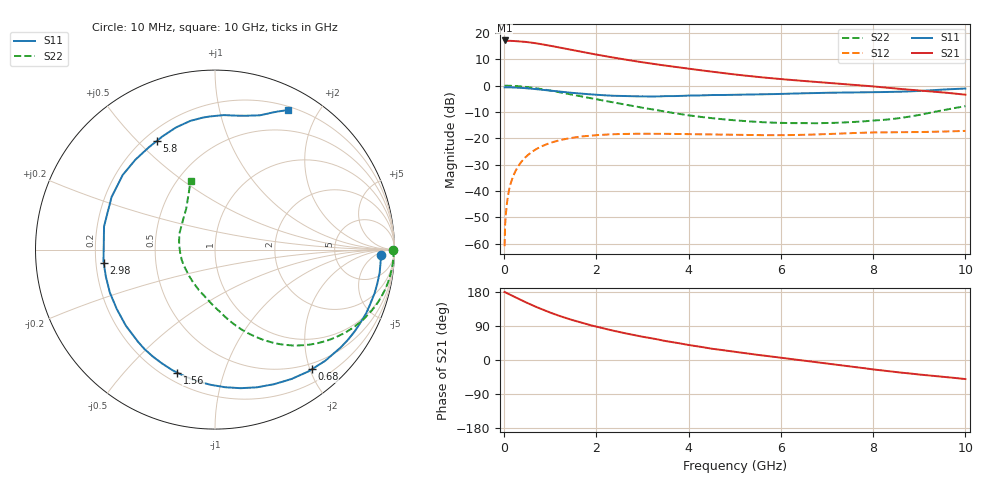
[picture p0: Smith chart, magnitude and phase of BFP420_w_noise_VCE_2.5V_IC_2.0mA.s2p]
! Infineon Technologies  Discrete & RF Semiconductors
! BFP420
! VCE =  2.5 V,  IC =  2.0 mA
! Common Emitter S-Parameters:  Jan 2016
# GHz  S  MA  R  50
!  f  S11  S21  S12  S22
! GHz  MAG  ANG  MAG  ANG  MAG  ANG  MAG  ANG
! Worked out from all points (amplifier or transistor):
!   233 points, 10 MHz to 10 GHz, reference 50 ohm
!   highest |S21| = 17.1 dB at 10 MHz (marker M1)
!   |S21| within 3 dB of that: start of sweep to 1.295 GHz
!   unconditionally stable (mu >= 1): 3.871 GHz to end of sweep
!   at 200 MHz: K = 0.03, MSG = 25.6 dB, |S12| = -34.2 dB
!   at 1.74 GHz: K = 0.37, MSG = 15.9 dB, |S12| = -19.2 dB
!   at 10 GHz: K = 1.22, MAG = 4.0 dB, |S12| = -17.2 dB
!   lowest NFmin = 0.53 dB at 900 MHz
!   S11 on the Smith chart (normalised r, x): 10 MHz: 22, -9; 680 MHz: 0.40, -2.03; 1.56 GHz: 0.25, -0.71; 2.98 GHz: 0.23, -0.06; 5.8 GHz: 0.25, +0.57; 10 GHz: 0.24, +1.63
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0.01  0.9251 -1.7  7.172 179.4  0.0009 100.3  0.9942 0.0
0.02  0.9279 -1.6  6.984 179.1  0.0022 90.8  0.9951 -0.8
0.045  0.9256 -3.3  7.012 177.3  0.0044 87.4  0.9953 -1.9
0.16  0.9235 -12.2  7.04 170.5  0.0157 83.0  0.9895 -6.9
0.3  0.914 -22.9  6.943 162.2  0.029 77.0  0.9742 -13.0
0.46  0.8932 -34.9  6.746 153.0  0.0436 70.2  0.9459 -19.6
0.68  0.8577 -51.0  6.366 140.9  0.0612 61.1  0.8928 -28.2
0.82  0.8329 -60.8  6.068 133.7  0.0709 55.9  0.855 -33.2
1.02  0.7979 -74.4  5.651 124.2  0.0829 49.0  0.7978 -39.8
1.26  0.7584 -89.5  5.147 113.9  0.0944 41.7  0.73 -46.8
1.56  0.7168 -107.0  4.58 102.5  0.1049 33.7  0.6506 -54.4
1.68  0.7021 -113.7  4.376 98.2  0.1082 30.9  0.6214 -57.1
2.24  0.6491 -141.3  3.553 80.9  0.1181 19.5  0.503 -68.2
2.6  0.6329 -157.8  3.143 71.1  0.1211 13.4  0.4389 -74.7
2.98  0.6243 -173.1  2.782 61.9  0.1221 8.3  0.3826 -81.0
3.4  0.6253 171.7  2.458 52.5  0.1216 3.6  0.3301 -88.5
4.5  0.6613 141.0  1.837 29.8  0.1187 -5.1  0.2411 -112.4
5.1  0.6697 129.9  1.589 20.0  0.1163 -7.6  0.2159 -126.0
5.8  0.687 118.1  1.377 9.1  0.1145 -9.3  0.1984 -143.5
6.8  0.7226 103.6  1.166 -6.3  0.1185 -10.5  0.1935 -170.2
8.4  0.7576 79.9  0.893 -30.4  0.1301 -17.6  0.2314 143.3
10  0.8786 62.3  0.672 -50.3  0.1382 -22.7  0.4069 109.6
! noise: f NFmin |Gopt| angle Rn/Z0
0.9  0.53  0.47  33  0.22
1.8  1.03  0.29  77  0.17
2.4  1.13  0.31  102  0.16
3  1.32  0.31  136  0.12
4  1.57  0.37  -168  0.1
5  1.96  0.42  -129  0.28
6  2.72  0.51  -111  0.37
